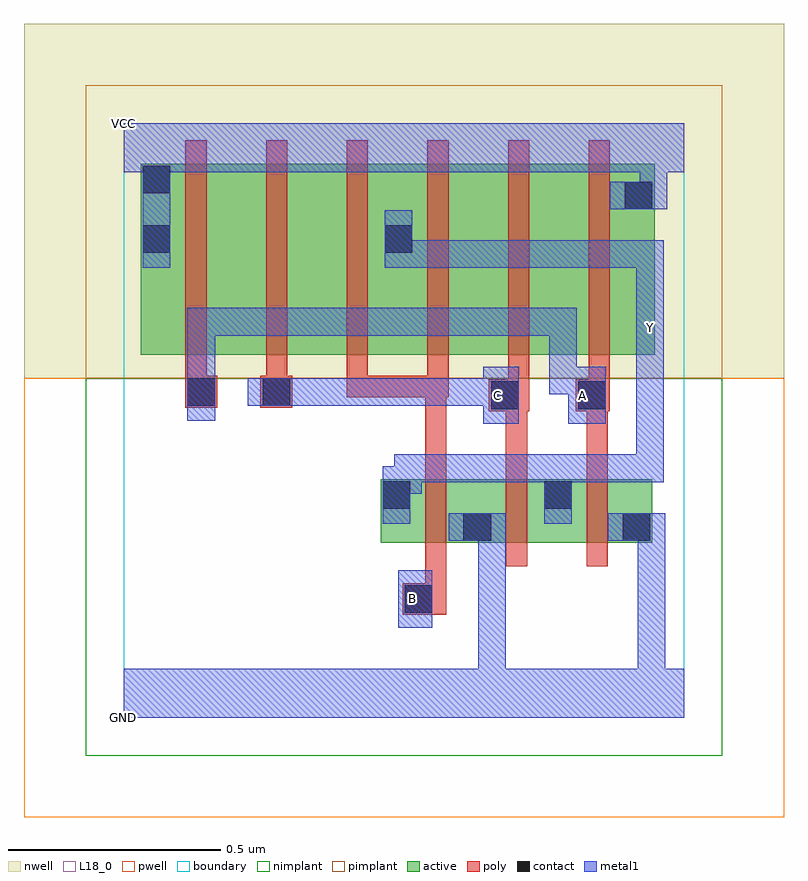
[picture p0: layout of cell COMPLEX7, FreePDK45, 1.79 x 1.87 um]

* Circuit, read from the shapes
.subckt COMPLEX7 A B C GND VCC Y
M1 GND B Y VSUBS nfet w=0.15u l=0.05u
M2 Y C GND VSUBS nfet w=0.15u l=0.05u
M3 GND A Y VSUBS nfet w=0.15u l=0.05u
M4 n1 A VCC n2 pfet w=0.45u l=0.05u
M5 n3 C n1 n2 pfet w=0.45u l=0.05u
M6 Y B n3 n2 pfet w=0.45u l=0.05u
M7 n4 B Y n2 pfet w=0.45u l=0.05u
M8 n5 C n4 n2 pfet w=0.45u l=0.05u
M9 VCC A n5 n2 pfet w=0.45u l=0.05u
.ends

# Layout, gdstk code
import gdstk
lib = gdstk.Library(unit=1e-6, precision=1e-09)
def R(c, l, rs):  # rectangles x0, y0, x1, y1
    for r in rs: c.add(gdstk.rectangle(r[:2], r[2:], *l))
def A(c, l, x, y, w, h, nx, ny, dx, dy):  # array of equal rectangles
    R(c, l, [(x+i*dx, y+j*dy, x+i*dx+w, y+j*dy+h) for i in range(nx) for j in range(ny)])
active = (1, 0)
pwell = (2, 0)
nwell = (3, 0)
nimplant = (4, 0)
pimplant = (5, 0)
poly = (9, 0)
contact = (10, 0)
metal1 = (11, 0)
L18_0 = (18, 0)
boundary = (235, 0)

complex7 = lib.new_cell('COMPLEX7')
R(complex7, active, [(0.605,0.412,0.68,0.562), (0.605,0.412,0.87,0.562), (0.795,0.412,1.06,0.562), (0.795,0.412,0.87,0.557), (0.985,0.412,1.06,0.562), (0.985,0.412,1.245,0.562), (1.17,0.412,1.245,0.562), (0.04,0.855,0.115,1.305), (0.04,0.855,0.265,1.305), (0.265,0.855,0.455,1.305), (0.455,0.855,0.685,1.305), (0.61,0.855,0.835,1.305), (0.61,0.855,0.685,1.2), (0.835,0.855,1.025,1.305), (1.025,0.855,1.25,1.305), (1.175,0.855,1.25,1.305)])
R(complex7, pwell, [(-0.235,-0.235,1.555,0.8)])
R(complex7, nwell, [(-0.235,0.8,1.555,1.635)])
R(complex7, nimplant, [(-0.09,-0.09,1.41,0.8)])
R(complex7, pimplant, [(-0.09,0.8,1.41,1.49)])
A(complex7, poly, 0.71, 0.357, 0.05, 0.26, 3, 1, 0.19, 0)
A(complex7, poly, 0.145, 0.755, 0.05, 0.095, 4, 1, 0.19, 0)
A(complex7, poly, 0.145, 0.8, 0.05, 0.56, 6, 1, 0.19, 0)
R(complex7, poly, [(0.657,0.242,0.76,0.317), (0.71,0.267,0.76,0.407), (0.71,0.567,0.76,0.805), (0.9,0.567,0.95,0.772), (1.09,0.567,1.14,0.772), (0.86,0.722,0.955,0.797), (1.065,0.722,1.145,0.797), (0.145,0.73,0.22,0.805), (0.322,0.73,0.397,0.805), (0.905,0.747,0.955,0.85), (1.095,0.747,1.145,0.85), (0.525,0.755,0.575,0.805), (0.525,0.755,0.76,0.805), (0.71,0.755,0.76,0.805), (0.71,0.755,0.76,0.805), (0.71,0.755,0.765,0.805)])
R(complex7, contact, [(0.662,0.247,0.727,0.312), (0.8,0.417,0.865,0.482), (1.175,0.417,1.24,0.482), (0.61,0.492,0.675,0.557), (0.99,0.492,1.055,0.557), (0.865,0.727,0.93,0.792), (1.07,0.727,1.135,0.792), (0.15,0.735,0.215,0.8), (0.327,0.735,0.392,0.8), (0.045,1.095,0.11,1.16), (0.615,1.095,0.68,1.16), (1.18,1.197,1.245,1.262), (0.045,1.235,0.11,1.3)])
R(complex7, metal1, [(0,0,1.32,0.115), (0.835,0.05,0.9,0.115), (0.835,0.05,0.9,0.115), (0.835,0.05,0.9,0.115), (0.835,0.05,0.9,0.115), (0.835,0.05,0.9,0.115), (0.835,0.05,0.9,0.115), (0.835,0.05,0.9,0.115), (0.835,0.05,0.9,0.115), (0.835,0.05,0.9,0.482), (1.21,0.05,1.275,0.482), (0.647,0.212,0.727,0.347), (0.765,0.417,0.9,0.482), (1.14,0.417,1.275,0.482), (1.21,0.417,1.275,0.482), (1.21,0.417,1.275,0.482), (1.21,0.417,1.275,0.482), (1.21,0.417,1.275,0.482), (1.21,0.417,1.275,0.482), (1.21,0.417,1.275,0.482), (1.21,0.417,1.275,0.482), (1.21,0.417,1.275,0.482), (0.61,0.457,0.675,0.592), (0.99,0.457,1.055,0.62), (0.61,0.527,0.702,0.592), (0.637,0.527,0.702,0.62), (0.637,0.555,0.865,0.62), (0.8,0.555,0.865,0.62), (0.8,0.555,0.865,0.62), (0.8,0.555,0.865,0.62), (0.8,0.555,1.055,0.62), (0.99,0.555,1.272,0.62), (1.207,0.555,1.272,0.62), (1.207,0.555,1.272,0.62), (1.207,0.555,1.272,0.62), (1.207,0.555,1.272,0.917), (0.847,0.692,0.93,0.827), (1.047,0.692,1.135,0.827), (0.15,0.7,0.215,0.835), (0.292,0.735,0.427,0.8), (0.362,0.735,0.427,0.8), (0.362,0.735,0.427,0.8), (0.362,0.735,0.565,0.8), (0.5,0.735,0.565,0.8), (0.5,0.735,0.565,0.8), (0.5,0.735,0.565,0.8), (0.5,0.735,0.727,0.8), (0.662,0.735,0.727,0.8), (0.662,0.735,0.912,0.8), (0.847,0.735,0.912,0.8), (0.847,0.735,0.912,0.8), (1.002,0.762,1.067,0.965), (1.002,0.762,1.067,0.827), (1.002,0.762,1.112,0.827), (0.15,0.77,0.215,0.835), (0.15,0.77,0.215,0.835), (0.15,0.77,0.215,0.965), (1.207,0.852,1.272,0.987), (0.15,0.9,0.215,0.965), (0.15,0.9,0.352,0.965), (0.287,0.9,0.352,0.965), (0.287,0.9,0.352,0.965), (0.287,0.9,0.352,0.965), (0.287,0.9,0.565,0.965), (0.5,0.9,0.565,0.965), (0.5,0.9,0.565,0.965), (0.5,0.9,0.565,0.965), (0.5,0.9,0.702,0.965), (0.637,0.9,0.702,0.965), (0.637,0.9,0.865,0.965), (0.8,0.9,0.865,0.965), (0.8,0.9,0.865,0.965), (0.8,0.9,0.865,0.965), (0.8,0.9,1.067,0.965), (1.002,0.9,1.067,0.965), (1.207,0.922,1.272,1.125), (1.207,0.922,1.272,0.987), (1.207,0.922,1.272,0.987), (0.045,1.06,0.11,1.335), (0.615,1.06,0.68,1.195), (0.615,1.06,0.727,1.125), (0.662,1.06,0.727,1.125), (0.662,1.06,0.917,1.125), (0.852,1.06,0.917,1.125), (0.852,1.06,0.917,1.125), (0.852,1.06,0.917,1.125), (0.852,1.06,1.067,1.125), (1.002,1.06,1.067,1.125), (1.002,1.06,1.272,1.125), (1.207,1.06,1.272,1.125), (1.207,1.06,1.272,1.125), (1.207,1.06,1.272,1.125), (1.145,1.197,1.28,1.262), (1.215,1.197,1.28,1.35), (0.045,1.27,0.11,1.35), (0,1.285,1.32,1.4)])
R(complex7, L18_0, [(0,0,1.32,0.115), (0.835,0.05,0.9,0.115), (0.835,0.05,0.9,0.115), (0.835,0.05,0.9,0.115), (0.835,0.05,0.9,0.115), (0.835,0.05,0.9,0.115), (0.835,0.05,0.9,0.115), (0.835,0.05,0.9,0.115), (0.835,0.05,0.9,0.115), (0.835,0.05,0.9,0.482), (1.21,0.05,1.275,0.482), (0.647,0.212,0.727,0.347), (0.647,0.247,0.712,0.312), (0.765,0.417,0.9,0.482), (1.14,0.417,1.275,0.482), (1.21,0.417,1.275,0.482), (1.21,0.417,1.275,0.482), (1.21,0.417,1.275,0.482), (1.21,0.417,1.275,0.482), (1.21,0.417,1.275,0.482), (1.21,0.417,1.275,0.482), (1.21,0.417,1.275,0.482), (1.21,0.417,1.275,0.482), (0.61,0.457,0.675,0.592), (0.99,0.457,1.055,0.62), (0.61,0.527,0.702,0.592), (0.637,0.527,0.702,0.62), (0.637,0.555,0.865,0.62), (0.8,0.555,0.865,0.62), (0.8,0.555,0.865,0.62), (0.8,0.555,0.865,0.62), (0.8,0.555,1.055,0.62), (0.99,0.555,1.272,0.62), (1.207,0.555,1.272,0.62), (1.207,0.555,1.272,0.62), (1.207,0.555,1.272,0.62), (1.207,0.555,1.272,0.917), (0.847,0.692,0.93,0.827), (1.047,0.692,1.135,0.827), (0.15,0.7,0.215,0.835), (0.847,0.727,0.912,0.792), (1.047,0.727,1.112,0.792), (0.292,0.735,0.427,0.8), (0.362,0.735,0.427,0.8), (0.362,0.735,0.427,0.8), (0.362,0.735,0.565,0.8), (0.5,0.735,0.565,0.8), (0.5,0.735,0.565,0.8), (0.5,0.735,0.565,0.8), (0.5,0.735,0.727,0.8), (0.662,0.735,0.727,0.8), (0.662,0.735,0.912,0.8), (0.847,0.735,0.912,0.8), (0.847,0.735,0.912,0.8), (1.002,0.762,1.067,0.827), (1.002,0.762,1.067,0.965), (1.002,0.762,1.112,0.827), (0.15,0.77,0.215,0.835), (0.15,0.77,0.215,0.835), (0.15,0.77,0.215,0.965), (1.207,0.852,1.272,0.987), (1.207,0.887,1.272,0.952), (0.15,0.9,0.215,0.965), (0.15,0.9,0.352,0.965), (0.287,0.9,0.352,0.965), (0.287,0.9,0.352,0.965), (0.287,0.9,0.352,0.965), (0.287,0.9,0.565,0.965), (0.5,0.9,0.565,0.965), (0.5,0.9,0.565,0.965), (0.5,0.9,0.565,0.965), (0.5,0.9,0.702,0.965), (0.637,0.9,0.702,0.965), (0.637,0.9,0.865,0.965), (0.8,0.9,0.865,0.965), (0.8,0.9,0.865,0.965), (0.8,0.9,0.865,0.965), (0.8,0.9,1.067,0.965), (1.002,0.9,1.067,0.965), (1.207,0.922,1.272,0.987), (1.207,0.922,1.272,0.987), (1.207,0.922,1.272,1.125), (0.045,1.06,0.11,1.335), (0.615,1.06,0.68,1.195), (0.615,1.06,0.727,1.125), (0.662,1.06,0.727,1.125), (0.662,1.06,0.917,1.125), (0.852,1.06,0.917,1.125), (0.852,1.06,0.917,1.125), (0.852,1.06,0.917,1.125), (0.852,1.06,1.067,1.125), (1.002,1.06,1.067,1.125), (1.002,1.06,1.272,1.125), (1.207,1.06,1.272,1.125), (1.207,1.06,1.272,1.125), (1.207,1.06,1.272,1.125), (1.145,1.197,1.28,1.262), (1.215,1.197,1.28,1.35), (0.045,1.27,0.11,1.35), (0,1.285,1.32,1.4)])
R(complex7, boundary, [(0,0,1.32,1.4)])
complex7.add(gdstk.Label('A', (1.08,0.76), layer=11, texttype=0))
complex7.add(gdstk.Label('B', (0.68,0.28), layer=11, texttype=0))
complex7.add(gdstk.Label('C', (0.88,0.76), layer=11, texttype=0))
complex7.add(gdstk.Label('Y', (1.24,0.92), layer=11, texttype=0))
complex7.add(gdstk.Label('VCC', (0,1.4), layer=11, texttype=0))
complex7.add(gdstk.Label('GND', (0,0), layer=11, texttype=0))

lib.write_gds('COMPLEX7.gds')
